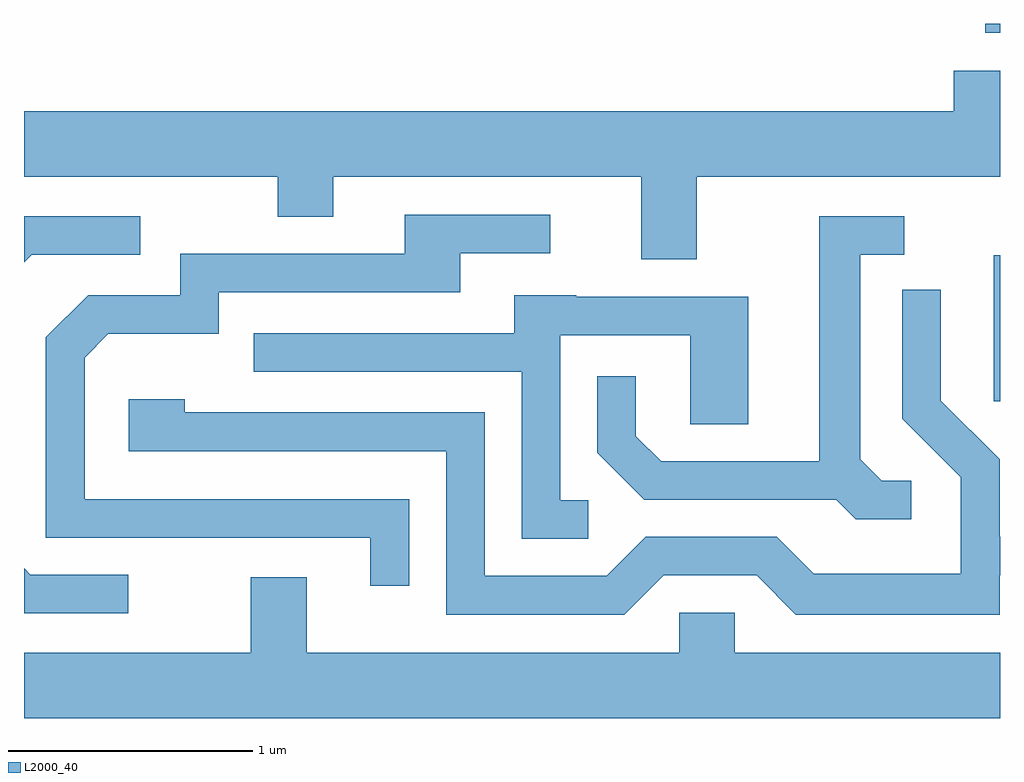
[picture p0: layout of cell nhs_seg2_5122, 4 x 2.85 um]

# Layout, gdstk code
import gdstk
lib = gdstk.Library(unit=1e-6, precision=1e-09)
def R(c, l, rs):  # rectangles x0, y0, x1, y1
    for r in rs: c.add(gdstk.rectangle(r[:2], r[2:], *l))
def P(c, l, *ps):  # polygons
    for p in ps: c.add(gdstk.Polygon(p, *l))
L2000_40 = (2000, 40)

nhs_seg2_5122 = lib.new_cell('nhs_seg2_5122')
R(nhs_seg2_5122, L2000_40, [(339.586,1076.256,339.611,1076.854), (339.551,1077.766,339.611,1077.802)])
P(nhs_seg2_5122, L2000_40, [(335.611,1077.176),(336.651,1077.176),(336.651,1077.011),(336.879,1077.011),(336.879,1077.176),(338.141,1077.176),(338.141,1076.836),(338.369,1076.836),(338.369,1077.176),(339.611,1077.176),(339.611,1077.609),(339.421,1077.609),(339.421,1077.444),(335.611,1077.444)],
  [(337.189,1075.854),(335.859,1075.854),(335.859,1076.434),(335.957,1076.531),(336.409,1076.531),(336.409,1076.701),(337.399,1076.701),(337.399,1076.861),(337.768,1076.861),(337.768,1077.019),(337.171,1077.019),(337.171,1076.859),(336.251,1076.859),(336.251,1076.689),(335.874,1076.689),(335.701,1076.517),(335.701,1075.696),(337.031,1075.696),(337.031,1075.498),(337.189,1075.498)],
  [(335.642,1076.856),(336.088,1076.856),(336.088,1077.014),(335.611,1077.014),(335.611,1076.825)],
  [(339.248,1075.929),(339.127,1075.929),(339.039,1076.017),(339.039,1076.856),(339.218,1076.856),(339.218,1077.014),(338.871,1077.014),(338.871,1076.009),(338.222,1076.009),(338.119,1076.112),(338.119,1076.358),(337.961,1076.358),(337.961,1076.044),(338.154,1075.851),(338.939,1075.851),(339.019,1075.771),(339.248,1075.771)],
  [(338.232,1075.541),(338.614,1075.541),(338.774,1075.381),(339.609,1075.381),(339.609,1075.541),(339.611,1075.541),(339.611,1075.699),(339.609,1075.699),(339.609,1076.017),(339.369,1076.257),(339.369,1076.713),(339.211,1076.713),(339.211,1076.184),(339.451,1075.944),(339.451,1075.549),(338.847,1075.549),(338.697,1075.699),(338.159,1075.699),(337.999,1075.539),(337.499,1075.539),(337.499,1076.209),(336.269,1076.209),(336.269,1076.264),(336.041,1076.264),(336.041,1076.051),(337.341,1076.051),(337.341,1075.381),(338.072,1075.381)],
  [(337.923,1075.849),(337.809,1075.849),(337.809,1076.526),(338.341,1076.526),(338.341,1076.161),(338.579,1076.161),(338.579,1076.684),(337.875,1076.684),(337.875,1076.689),(337.621,1076.689),(337.621,1076.534),(336.553,1076.534),(336.553,1076.376),(337.651,1076.376),(337.651,1075.691),(337.923,1075.691)],
  [(336.038,1075.544),(335.637,1075.544),(335.611,1075.57),(335.611,1075.386),(336.038,1075.386)],
  [(339.611,1075.224),(338.524,1075.224),(338.524,1075.389),(338.296,1075.389),(338.296,1075.224),(336.769,1075.224),(336.769,1075.534),(336.541,1075.534),(336.541,1075.224),(335.611,1075.224),(335.611,1074.956),(339.611,1074.956)])

lib.write_gds('nhs_seg2_5122.gds')
